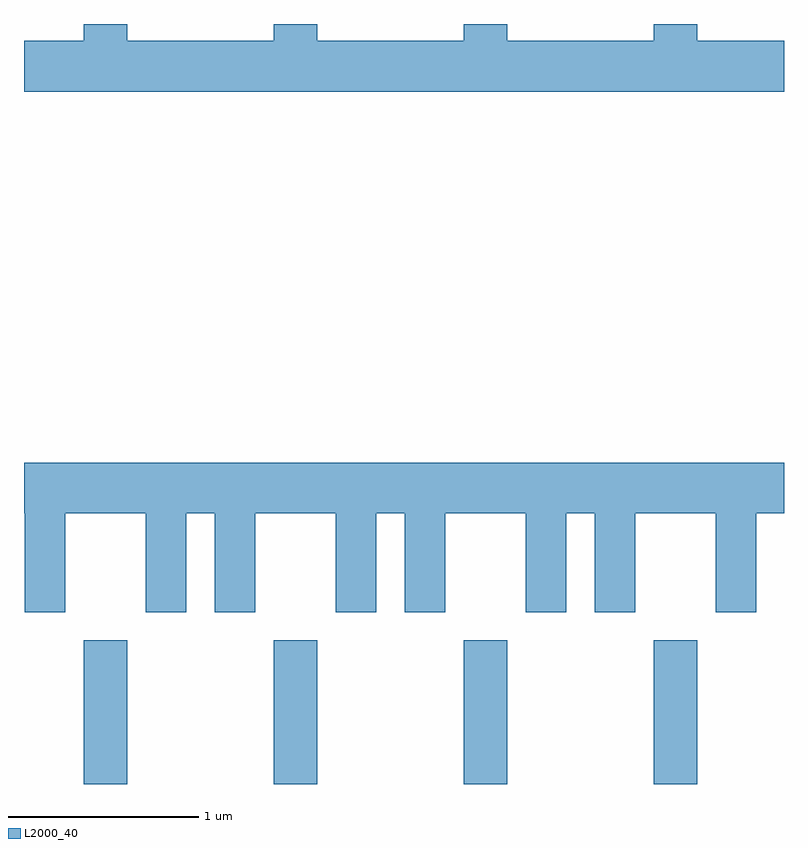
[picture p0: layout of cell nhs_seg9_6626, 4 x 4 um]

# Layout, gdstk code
import gdstk
lib = gdstk.Library(unit=1e-6, precision=1e-09)
def R(c, l, rs):  # rectangles x0, y0, x1, y1
    for r in rs: c.add(gdstk.rectangle(r[:2], r[2:], *l))
def A(c, l, x, y, w, h, nx, ny, dx, dy):  # array of equal rectangles
    R(c, l, [(x+i*dx, y+j*dy, x+i*dx+w, y+j*dy+h) for i in range(nx) for j in range(ny)])
def P(c, l, *ps):  # polygons
    for p in ps: c.add(gdstk.Polygon(p, *l))
L2000_40 = (2000, 40)

nhs_seg9_6626 = lib.new_cell('nhs_seg9_6626')
A(nhs_seg9_6626, L2000_40, 381.926, 1950.432, 0.228, 0.757, 4, 1, 1, 0)
P(nhs_seg9_6626, L2000_40, [(385.611,1954.344),(385.154,1954.344),(385.154,1954.432),(384.926,1954.432),(384.926,1954.344),(384.154,1954.344),(384.154,1954.432),(383.926,1954.432),(383.926,1954.344),(383.154,1954.344),(383.154,1954.432),(382.926,1954.432),(382.926,1954.344),(382.154,1954.344),(382.154,1954.432),(381.926,1954.432),(381.926,1954.344),(381.611,1954.344),(381.611,1954.076),(385.611,1954.076)],
  [(381.611,1951.856),(381.616,1951.856),(381.616,1951.336),(381.829,1951.336),(381.829,1951.856),(382.251,1951.856),(382.251,1951.336),(382.464,1951.336),(382.464,1951.856),(382.616,1951.856),(382.616,1951.336),(382.829,1951.336),(382.829,1951.856),(383.251,1951.856),(383.251,1951.336),(383.464,1951.336),(383.464,1951.856),(383.616,1951.856),(383.616,1951.336),(383.829,1951.336),(383.829,1951.856),(384.251,1951.856),(384.251,1951.336),(384.464,1951.336),(384.464,1951.856),(384.616,1951.856),(384.616,1951.336),(384.829,1951.336),(384.829,1951.856),(385.251,1951.856),(385.251,1951.336),(385.464,1951.336),(385.464,1951.856),(385.611,1951.856),(385.611,1952.124),(381.611,1952.124)])

lib.write_gds('nhs_seg9_6626.gds')
